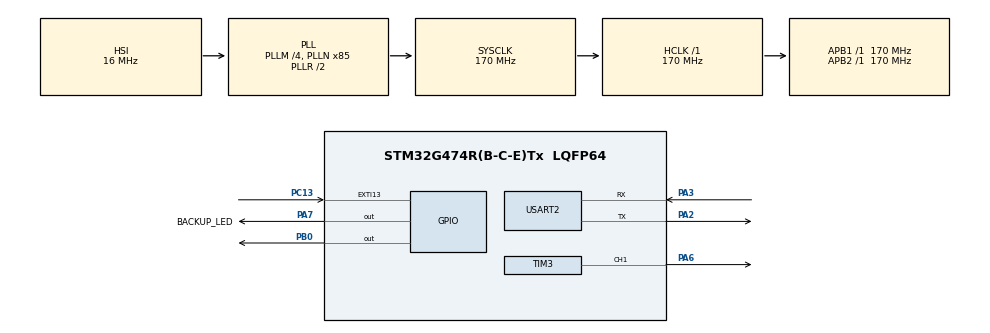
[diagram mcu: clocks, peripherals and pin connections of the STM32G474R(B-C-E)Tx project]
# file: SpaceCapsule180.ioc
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Mcu.Family=STM32G4
Mcu.Name=STM32G474R(B-C-E)Tx
Mcu.Package=LQFP64
NVIC.EXTI15_10_IRQn=true\:0\:0\:false\:false\:true\:true\:true\:true
NVIC.PriorityGroup=NVIC_PRIORITYGROUP_4
NVIC.TIM2_IRQn=true\:0\:0\:false\:false\:true\:true\:true\:true
NVIC.USART2_IRQn=true\:0\:0\:false\:false\:true\:true\:true\:true
PA13.GPIO_Label=T_SWDIO
PA13.Signal=SYS_JTMS-SWDIO
PA14.GPIO_Label=T_SWCLK
PA14.Signal=SYS_JTCK-SWCLK
PA2.Mode=Asynchronous
PA2.Signal=USART2_TX
PA3.Mode=Asynchronous
PA3.Signal=USART2_RX
PA6.Signal=S_TIM3_CH1
PA7.GPIO_Label=BACKUP_LED
PA7.Signal=GPIO_Output
PB0.Signal=GPIO_Output
PB3.GPIO_Label=T_SWO
PB3.Signal=SYS_JTDO-SWO
PC13.GPIO_PuPd=GPIO_PULLDOWN
PC13.Signal=GPXTI13
PC14-OSC32_IN.GPIO_Label=RCC_OSC32_IN
PC14-OSC32_IN.Signal=RCC_OSC32_IN
PC15-OSC32_OUT.GPIO_Label=RCC_OSC32_OUT
PC15-OSC32_OUT.Signal=RCC_OSC32_OUT
PF0-OSC_IN.GPIO_Label=RCC_OSC_IN
PF0-OSC_IN.Signal=RCC_OSC_IN
PF1-OSC_OUT.GPIO_Label=RCC_OSC_OUT
PF1-OSC_OUT.Signal=RCC_OSC_OUT
ProjectManager.HeapSize=0x200
ProjectManager.StackSize=0x400
ProjectManager.TargetToolchain=STM32CubeIDE
RCC.ADC12Freq_Value=170000000
RCC.ADC345Freq_Value=170000000
RCC.AHBFreq_Value=170000000
RCC.APB1Freq_Value=170000000
RCC.APB1TimFreq_Value=170000000
RCC.APB2Freq_Value=170000000
RCC.APB2TimFreq_Value=170000000
RCC.CortexFreq_Value=170000000
RCC.EXTERNAL_CLOCK_VALUE=12288000
RCC.HCLKFreq_Value=170000000
RCC.HSE_VALUE=24000000
RCC.HSI48_VALUE=48000000
RCC.HSI_VALUE=16000000
RCC.LSE_VALUE=32768
RCC.PLLM=RCC_PLLM_DIV4
RCC.PLLN=85
RCC.RTCClockSelection=RCC_RTCCLKSOURCE_LSE
RCC.SYSCLKFreq_VALUE=170000000
RCC.SYSCLKSource=RCC_SYSCLKSOURCE_PLLCLK
RCC.USBFreq_Value=170000000
RCC.VCOOutputFreq_Value=340000000
SH.S_TIM3_CH1.0=TIM3_CH1,PWM Generation1 CH1
TIM2.PeriodNoDither=999
TIM2.Prescaler=169
TIM3.Channel-PWM\ Generation1\ CH1=TIM_CHANNEL_1
TIM3.PeriodNoDither=999
TIM3.Prescaler=169
USART2.VirtualMode-Asynchronous=VM_ASYNC
VP_SYS_VS_DBSignals.Mode=DisableDeadBatterySignals
VP_TIM2_VS_ClockSourceINT.Mode=Internal
board=NUCLEO-G474RE

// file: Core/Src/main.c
/* USER CODE BEGIN Header */
/**
  ******************************************************************************
  * @file           : main.c
  * @brief          : Main program body
  ******************************************************************************
  * @attention
  *
  * Copyright (c) 2026 STMicroelectronics.
  * All rights reserved.
  *
  * This software is licensed under terms that can be found in the LICENSE file
  * in the root directory of this software component.
  * If no LICENSE file comes with this software, it is provided AS-IS.
  *
  ******************************************************************************
  */
/* USER CODE END Header */
#include "main.h"

/* USER CODE BEGIN Includes */
#include <stdio.h>
#include <string.h>
#include <stdlib.h>
/* USER CODE END Includes */

TIM_HandleTypeDef htim2;
TIM_HandleTypeDef htim3;

UART_HandleTypeDef huart2;

void SystemClock_Config(void);
static void MX_GPIO_Init(void);
static void MX_TIM2_Init(void);
static void MX_TIM3_Init(void);
static void MX_USART2_UART_Init(void);

/* USER CODE BEGIN 0 */

/*
 * SpaceCapsule
 * PA7 : BACKUP LED
 * PB0 : ALARM LED
 * PA6 : TIM3 CH1 PWM
 * PC13: B1, rising-edge EXTI
 * USART2: 115200, 8N1
 * TIM2: 1 ms update interrupt
 */

extern TIM_HandleTypeDef htim2;
extern TIM_HandleTypeDef htim3;

#define RX_SIZE         256U
#define LINE_SIZE       64U
#define MISSION_MS      180000U
#define STABLE_MS       5000U
#define DEBOUNCE_MS     50U

typedef enum
{
    STATE_IDLE = 0,
    STATE_RUNNING,
    STATE_SUCCESS,
    STATE_FAILED
} MissionState;

/* Interrupt-shared variables */
static volatile uint32_t app_ms = 0;
static volatile uint8_t button_pending = 0;
static volatile uint32_t button_time = 0;

static uint8_t rx_byte;
static volatile uint8_t rx_buffer[RX_SIZE];
static volatile uint16_t rx_head = 0;
static volatile uint16_t rx_tail = 0;
static volatile uint8_t rx_overflow = 0;
static volatile uint8_t uart_error = 0;

/* Main-loop-owned variables */
static MissionState mission_state = STATE_IDLE;
static uint8_t backup_on = 0;
static uint8_t power_percent = 0;
static uint8_t stable_active = 0;

static uint32_t mission_start = 0;
static uint32_t stable_start = 0;
static uint32_t finish_elapsed = 0;
static uint32_t last_report = 0;

static char command_line[LINE_SIZE];
static uint16_t command_length = 0;
static uint8_t discard_line = 0;

static void App_Send(const char *text)
{
    /* Only called from main loop, never from an ISR. */
    HAL_UART_Transmit(&huart2,
                     (uint8_t *)text,
                     (uint16_t)strlen(text),
                     100);
}

static const char *App_StateName(void)
{
    switch (mission_state)
    {
        case STATE_IDLE:    return "IDLE";
        case STATE_RUNNING: return "RUNNING";
        case STATE_SUCCESS: return "SUCCESS";
        case STATE_FAILED:  return "FAILED";
        default:            return "UNKNOWN";
    }
}

static uint32_t App_Elapsed(uint32_t now)
{
    if (mission_state == STATE_IDLE)
        return 0;

    if (mission_state == STATE_RUNNING)
        return now - mission_start;

    return finish_elapsed;
}

static uint32_t App_StableTime(uint32_t now)
{
    uint32_t elapsed;

    if (!stable_active)
        return 0;

    if (mission_state == STATE_SUCCESS)
        return STABLE_MS;

    if (mission_state != STATE_RUNNING)
        return 0;

    elapsed = now - stable_start;

    return (elapsed >= STABLE_MS) ? STABLE_MS : elapsed;
}

static void App_Report(uint32_t now)
{
    char text[180];
    uint32_t elapsed = App_Elapsed(now);
    uint32_t remaining;
    uint32_t stable = App_StableTime(now);

    if (elapsed > MISSION_MS)
        elapsed = MISSION_MS;

    remaining = MISSION_MS - elapsed;

    snprintf(text, sizeof(text),
             "STATUS state=%s remaining_ms=%lu "
             "backup=%u power=%u stable_ms=%lu ready=%u\r\n",
             App_StateName(),
             (unsigned long)remaining,
             (unsigned int)backup_on,
             (unsigned int)power_percent,
             (unsigned long)stable,
             (unsigned int)(
                 mission_state == STATE_RUNNING &&
                 backup_on &&
                 power_percent == 60 &&
                 stable >= STABLE_MS));

    App_Send(text);
}

static void App_SetPower(uint8_t value)
{
    uint32_t period = __HAL_TIM_GET_AUTORELOAD(&htim3) + 1U;
    uint32_t compare = (period * value) / 100U;

    power_percent = value;

    /* ARR=999: 60% -> CCR1=600; 100% -> CCR1=1000. */
    __HAL_TIM_SET_COMPARE(&htim3, TIM_CHANNEL_1, compare);
}

static void App_UpdateLEDs(uint32_t now)
{
    GPIO_PinState alarm = GPIO_PIN_RESET;

    HAL_GPIO_WritePin(GPIOA, GPIO_PIN_7,
                      backup_on ? GPIO_PIN_SET : GPIO_PIN_RESET);

    if (mission_state == STATE_FAILED)
    {
        alarm = GPIO_PIN_SET;
    }
    else if (mission_state == STATE_RUNNING)
    {
        /* 250 ms on + 250 ms off = 2 Hz. */
        alarm = (((now - mission_start) / 250U) % 2U == 0U)
                ? GPIO_PIN_SET : GPIO_PIN_RESET;
    }

    HAL_GPIO_WritePin(GPIOB, GPIO_PIN_0, alarm);
}

static void App_CheckTimeout(uint32_t now)
{
    if (mission_state == STATE_RUNNING &&
        now - mission_start >= MISSION_MS)
    {
        mission_state = STATE_FAILED;
        finish_elapsed = MISSION_MS;
        stable_active = 0;

        App_UpdateLEDs(now);
        App_Send("EVENT TIMEOUT FAILED\r\n");
        App_Report(now);
    }
}

static void App_Reset(void)
{
    mission_state = STATE_IDLE;
    backup_on = 0;
    stable_active = 0;
    mission_start = 0;
    stable_start = 0;
    finish_elapsed = 0;

    App_SetPower(0);
    App_UpdateLEDs(app_ms);
}

/* Strictly accept POWER followed by an integer from 0 to 100. */
static int App_ParsePower(const char *line, uint8_t *value)
{
    const char *number;
    char *end;
    long parsed;

    if (strncmp(line, "POWER ", 6) != 0)
        return 0;

    number = line + 6;

    /* Reject signs, missing values and excessively long numbers. */
    if (*number < '0' || *number > '9' || strlen(number) > 3U)
        return 0;

    parsed = strtol(number, &end, 10);

    if (*end != '\0' || parsed < 0 || parsed > 100)
        return 0;

    *value = (uint8_t)parsed;
    return 1;
}

static void App_Command(const char *line)
{
    uint32_t now = app_ms;
    uint8_t value;

    App_CheckTimeout(now);

    if (strcmp(line, "STATUS") == 0)
    {
        App_Report(now);
        return;
    }

    if (strcmp(line, "START") == 0)
    {
        if (mission_state != STATE_IDLE)
        {
            App_Send("ERR START_REQUIRES_IDLE\r\n");
            return;
        }

        backup_on = 0;
        stable_active = 0;
        finish_elapsed = 0;
        App_SetPower(0);

        mission_start = app_ms;
        mission_state = STATE_RUNNING;
        App_UpdateLEDs(mission_start);

        App_Send("OK START\r\n");
        App_Report(app_ms);
        return;
    }

    if (strcmp(line, "RESET") == 0)
    {
        if (mission_state != STATE_SUCCESS &&
            mission_state != STATE_FAILED)
        {
            App_Send("ERR RESET_REQUIRES_FINISHED\r\n");
            return;
        }

        App_Reset();
        App_Send("OK RESET\r\n");
        App_Report(app_ms);
        return;
    }

    if (strcmp(line, "BACKUP ON") == 0)
    {
        if (mission_state != STATE_RUNNING)
        {
            App_Send("ERR NOT_RUNNING\r\n");
            return;
        }

        backup_on = 1;
        App_UpdateLEDs(app_ms);
        App_Send("OK BACKUP_ON\r\n");
        App_Report(app_ms);
        return;
    }

    if (App_ParsePower(line, &value))
    {
        if (mission_state != STATE_RUNNING)
        {
            App_Send("ERR NOT_RUNNING\r\n");
            return;
        }

        if (!backup_on)
        {
            App_Send("ERR BACKUP_REQUIRED\r\n");
            return;
        }

        App_SetPower(value);

        if (value == 60)
        {
            /* Repeated POWER 60 must not restart stable timing. */
            if (!stable_active)
            {
                stable_start = app_ms;
                stable_active = 1;
            }
        }
        else
        {
            stable_active = 0;
        }

        App_Send("OK POWER\r\n");
        App_Report(app_ms);
        return;
    }

    App_Send("ERR COMMAND_USE_START_BACKUP_ON_POWER_N_STATUS_RESET\r\n");
}

static void App_ProcessButton(void)
{
    uint8_t pending;
    uint32_t pressed_at;
    uint32_t mask = __get_PRIMASK();

    /* Atomically take the event and its timestamp. */
    __disable_irq();
    pending = button_pending;
    pressed_at = button_time;
    button_pending = 0;
    __set_PRIMASK(mask);

    if (!pending)
        return;

    if (mission_state != STATE_RUNNING)
    {
        App_Send("ERR BUTTON_NOT_RUNNING\r\n");
        return;
    }

    if (pressed_at - mission_start >= MISSION_MS)
    {
        App_CheckTimeout(app_ms);
        return;
    }

    if (!backup_on)
    {
        App_Send("ERR BUTTON_BACKUP_REQUIRED\r\n");
        return;
    }

    if (power_percent != 60 || !stable_active)
    {
        App_Send("ERR BUTTON_POWER_MUST_BE_60\r\n");
        return;
    }

    /*
     * A very old button event must not qualify against a later
     * stable_start timestamp. Unsigned subtraction handles wraparound.
     */
    uint32_t stable = pressed_at - stable_start;

    if (stable >= 0x80000000UL || stable < STABLE_MS)
    {
        App_Send("ERR BUTTON_WAIT_5_SECONDS\r\n");
        return;
    }

    mission_state = STATE_SUCCESS;
    finish_elapsed = pressed_at - mission_start;

    App_UpdateLEDs(app_ms);
    App_Send("EVENT RESTART_SUCCESS\r\n");
    App_Report(app_ms);
}

static int App_ReadByte(uint8_t *value)
{
    if (rx_tail == rx_head)
        return 0;

    *value = rx_buffer[rx_tail];
    rx_tail = (uint16_t)((rx_tail + 1U) % RX_SIZE);
    return 1;
}

static void App_ProcessUART(void)
{
    uint8_t value;

    if (rx_overflow || uart_error)
    {
        uint32_t mask = __get_PRIMASK();

        __disable_irq();
        rx_tail = rx_head;
        rx_overflow = 0;
        uart_error = 0;
        __set_PRIMASK(mask);

        command_length = 0;
        discard_line = 1;

        App_Send("ERR RX_LOST_SEND_NEWLINE_THEN_RETRY\r\n");
    }

    while (App_ReadByte(&value))
    {
        /* Process a physical button event before another command. */
        App_ProcessButton();

        if (value == '\r' || value == '\n')
        {
            if (discard_line)
            {
                discard_line = 0;
                command_length = 0;
            }
            else if (command_length > 0)
            {
                command_line[command_length] = '\0';
                App_Command(command_line);
                command_length = 0;
            }

            continue;
        }

        if (discard_line)
            continue;

        if (value < 32U || value > 126U)
        {
            command_length = 0;
            discard_line = 1;
            App_Send("ERR ASCII_COMMANDS_ONLY\r\n");
            continue;
        }

        if (command_length < LINE_SIZE - 1U)
        {
            command_line[command_length++] = (char)value;
        }
        else
        {
            command_length = 0;
            discard_line = 1;
            App_Send("ERR COMMAND_TOO_LONG\r\n");
        }
    }
}

static void App_Init(void)
{
    App_Reset();

    if (HAL_TIM_PWM_Start(&htim3, TIM_CHANNEL_1) != HAL_OK)
        Error_Handler();

    if (HAL_UART_Receive_IT(&huart2, &rx_byte, 1) != HAL_OK)
        Error_Handler();

    if (HAL_TIM_Base_Start_IT(&htim2) != HAL_OK)
        Error_Handler();

    last_report = app_ms;

    App_Send("\r\nSPACE_CAPSULE READY\r\n");
    App_Send("COMMANDS: START | BACKUP ON | POWER N | STATUS | RESET\r\n");
    App_Report(app_ms);
}

static void App_Run(void)
{
    /*
     * Check a recorded button press before checking the current timeout.
     * A qualifying press before the deadline may therefore succeed.
     */
    App_ProcessButton();
    App_CheckTimeout(app_ms);
    App_ProcessUART();
    App_CheckTimeout(app_ms);
    App_UpdateLEDs(app_ms);

    uint32_t now = app_ms;

    if (mission_state == STATE_RUNNING &&
        now - last_report >= 250U)
    {
        last_report = now;
        App_Report(now);
    }
}

/* TIM2 ISR callback: keep it short. */
void HAL_TIM_PeriodElapsedCallback(TIM_HandleTypeDef *htim)
{
    if (htim->Instance == TIM2)
        app_ms++;
}

/* UART ISR callback: receive into a ring buffer only. */
void HAL_UART_RxCpltCallback(UART_HandleTypeDef *huart)
{
    if (huart->Instance == USART2)
    {
        uint16_t next = (uint16_t)((rx_head + 1U) % RX_SIZE);

        if (next != rx_tail)
        {
            rx_buffer[rx_head] = rx_byte;
            rx_head = next;
        }
        else
        {
            rx_overflow = 1;
        }

        HAL_UART_Receive_IT(&huart2, &rx_byte, 1);
    }
}

void HAL_UART_ErrorCallback(UART_HandleTypeDef *huart)
{
    if (huart->Instance == USART2)
    {
        uart_error = 1;

        /* Restart if HAL ended reception because of an error. */
        if (huart->RxState == HAL_UART_STATE_READY)
            HAL_UART_Receive_IT(&huart2, &rx_byte, 1);
    }
}

/* B1 ISR callback: debounce and record the event. */
void HAL_GPIO_EXTI_Callback(uint16_t GPIO_Pin)
{
    static uint32_t last_press = 0;
    static uint8_t first_press = 1;

    if (GPIO_Pin == GPIO_PIN_13)
    {
        uint32_t now = app_ms;

        if (first_press || now - last_press >= DEBOUNCE_MS)
        {
            first_press = 0;
            last_press = now;

            /* Preserve the earliest unprocessed press. */
            if (!button_pending)
            {
                button_time = now;
                button_pending = 1;
            }
        }
    }
}

/* USER CODE END 0 */

int main(void)
{

  /* MCU Configuration--------------------------------------------------------*/

  /* Reset of all peripherals, Initializes the Flash interface and the Systick. */
  HAL_Init();

  /* Configure the system clock */
  SystemClock_Config();

  /* Initialize all configured peripherals */
  MX_GPIO_Init();
  MX_TIM2_Init();
  MX_TIM3_Init();
  MX_USART2_UART_Init();
  /* USER CODE BEGIN 2 */
  App_Init();
  /* USER CODE END 2 */

  /* Infinite loop */
  /* USER CODE BEGIN WHILE */
  while (1)
  {
	  App_Run();
    /* USER CODE END WHILE */

  }
}

void SystemClock_Config(void)
{
  RCC_OscInitTypeDef RCC_OscInitStruct = {0};
  RCC_ClkInitTypeDef RCC_ClkInitStruct = {0};

  /** Configure the main internal regulator output voltage
  */
  HAL_PWREx_ControlVoltageScaling(PWR_REGULATOR_VOLTAGE_SCALE1_BOOST);

  /** Initializes the RCC Oscillators according to the specified parameters
  * in the RCC_OscInitTypeDef structure.
  */
  RCC_OscInitStruct.OscillatorType = RCC_OSCILLATORTYPE_HSI;
  RCC_OscInitStruct.HSIState = RCC_HSI_ON;
  RCC_OscInitStruct.HSICalibrationValue = RCC_HSICALIBRATION_DEFAULT;
  RCC_OscInitStruct.PLL.PLLState = RCC_PLL_ON;
  RCC_OscInitStruct.PLL.PLLSource = RCC_PLLSOURCE_HSI;
  RCC_OscInitStruct.PLL.PLLM = RCC_PLLM_DIV4;
  RCC_OscInitStruct.PLL.PLLN = 85;
  RCC_OscInitStruct.PLL.PLLP = RCC_PLLP_DIV2;
  RCC_OscInitStruct.PLL.PLLQ = RCC_PLLQ_DIV2;
  RCC_OscInitStruct.PLL.PLLR = RCC_PLLR_DIV2;
  if (HAL_RCC_OscConfig(&RCC_OscInitStruct) != HAL_OK)
  {
    Error_Handler();
  }

  /** Initializes the CPU, AHB and APB buses clocks
  */
  RCC_ClkInitStruct.ClockType = RCC_CLOCKTYPE_HCLK|RCC_CLOCKTYPE_SYSCLK
                              |RCC_CLOCKTYPE_PCLK1|RCC_CLOCKTYPE_PCLK2;
  RCC_ClkInitStruct.SYSCLKSource = RCC_SYSCLKSOURCE_PLLCLK;
  RCC_ClkInitStruct.AHBCLKDivider = RCC_SYSCLK_DIV1;
  RCC_ClkInitStruct.APB1CLKDivider = RCC_HCLK_DIV1;
  RCC_ClkInitStruct.APB2CLKDivider = RCC_HCLK_DIV1;

  if (HAL_RCC_ClockConfig(&RCC_ClkInitStruct, FLASH_LATENCY_4) != HAL_OK)
  {
    Error_Handler();
  }
}

static void MX_TIM2_Init(void)
{

  TIM_ClockConfigTypeDef sClockSourceConfig = {0};
  TIM_MasterConfigTypeDef sMasterConfig = {0};

  htim2.Instance = TIM2;
  htim2.Init.Prescaler = 169;
  htim2.Init.CounterMode = TIM_COUNTERMODE_UP;
  htim2.Init.Period = 999;
  htim2.Init.ClockDivision = TIM_CLOCKDIVISION_DIV1;
  htim2.Init.AutoReloadPreload = TIM_AUTORELOAD_PRELOAD_DISABLE;
  if (HAL_TIM_Base_Init(&htim2) != HAL_OK)
  {
    Error_Handler();
  }
  sClockSourceConfig.ClockSource = TIM_CLOCKSOURCE_INTERNAL;
  if (HAL_TIM_ConfigClockSource(&htim2, &sClockSourceConfig) != HAL_OK)
  {
    Error_Handler();
  }
  sMasterConfig.MasterOutputTrigger = TIM_TRGO_RESET;
  sMasterConfig.MasterSlaveMode = TIM_MASTERSLAVEMODE_DISABLE;
  if (HAL_TIMEx_MasterConfigSynchronization(&htim2, &sMasterConfig) != HAL_OK)
  {
    Error_Handler();
  }

}

static void MX_TIM3_Init(void)
{

  TIM_MasterConfigTypeDef sMasterConfig = {0};
  TIM_OC_InitTypeDef sConfigOC = {0};

  htim3.Instance = TIM3;
  htim3.Init.Prescaler = 169;
  htim3.Init.CounterMode = TIM_COUNTERMODE_UP;
  htim3.Init.Period = 999;
  htim3.Init.ClockDivision = TIM_CLOCKDIVISION_DIV1;
  htim3.Init.AutoReloadPreload = TIM_AUTORELOAD_PRELOAD_DISABLE;
  if (HAL_TIM_PWM_Init(&htim3) != HAL_OK)
  {
    Error_Handler();
  }
  sMasterConfig.MasterOutputTrigger = TIM_TRGO_RESET;
  sMasterConfig.MasterSlaveMode = TIM_MASTERSLAVEMODE_DISABLE;
  if (HAL_TIMEx_MasterConfigSynchronization(&htim3, &sMasterConfig) != HAL_OK)
  {
    Error_Handler();
  }
  sConfigOC.OCMode = TIM_OCMODE_PWM1;
  sConfigOC.Pulse = 0;
  sConfigOC.OCPolarity = TIM_OCPOLARITY_HIGH;
  sConfigOC.OCFastMode = TIM_OCFAST_DISABLE;
  if (HAL_TIM_PWM_ConfigChannel(&htim3, &sConfigOC, TIM_CHANNEL_1) != HAL_OK)
  {
    Error_Handler();
  }
  HAL_TIM_MspPostInit(&htim3);

}

static void MX_USART2_UART_Init(void)
{

  huart2.Instance = USART2;
  huart2.Init.BaudRate = 115200;
  huart2.Init.WordLength = UART_WORDLENGTH_8B;
  huart2.Init.StopBits = UART_STOPBITS_1;
  huart2.Init.Parity = UART_PARITY_NONE;
  huart2.Init.Mode = UART_MODE_TX_RX;
  huart2.Init.HwFlowCtl = UART_HWCONTROL_NONE;
  huart2.Init.OverSampling = UART_OVERSAMPLING_16;
  huart2.Init.OneBitSampling = UART_ONE_BIT_SAMPLE_DISABLE;
  huart2.Init.ClockPrescaler = UART_PRESCALER_DIV1;
  huart2.AdvancedInit.AdvFeatureInit = UART_ADVFEATURE_NO_INIT;
  if (HAL_UART_Init(&huart2) != HAL_OK)
  {
    Error_Handler();
  }
  if (HAL_UARTEx_SetTxFifoThreshold(&huart2, UART_TXFIFO_THRESHOLD_1_8) != HAL_OK)
  {
    Error_Handler();
  }
  if (HAL_UARTEx_SetRxFifoThreshold(&huart2, UART_RXFIFO_THRESHOLD_1_8) != HAL_OK)
  {
    Error_Handler();
  }
  if (HAL_UARTEx_DisableFifoMode(&huart2) != HAL_OK)
  {
    Error_Handler();
  }

}

static void MX_GPIO_Init(void)
{
  GPIO_InitTypeDef GPIO_InitStruct = {0};

  /* GPIO Ports Clock Enable */
  __HAL_RCC_GPIOC_CLK_ENABLE();
  __HAL_RCC_GPIOF_CLK_ENABLE();
  __HAL_RCC_GPIOA_CLK_ENABLE();
  __HAL_RCC_GPIOB_CLK_ENABLE();

  /*Configure GPIO pin Output Level */
  HAL_GPIO_WritePin(BACKUP_LED_GPIO_Port, BACKUP_LED_Pin, GPIO_PIN_RESET);

  /*Configure GPIO pin Output Level */
  HAL_GPIO_WritePin(GPIOB, GPIO_PIN_0, GPIO_PIN_RESET);

  /*Configure GPIO pin : PC13 */
  GPIO_InitStruct.Pin = GPIO_PIN_13;
  GPIO_InitStruct.Mode = GPIO_MODE_IT_RISING;
  GPIO_InitStruct.Pull = GPIO_PULLDOWN;
  HAL_GPIO_Init(GPIOC, &GPIO_InitStruct);

  /*Configure GPIO pin : BACKUP_LED_Pin */
  GPIO_InitStruct.Pin = BACKUP_LED_Pin;
  GPIO_InitStruct.Mode = GPIO_MODE_OUTPUT_PP;
  GPIO_InitStruct.Pull = GPIO_NOPULL;
  GPIO_InitStruct.Speed = GPIO_SPEED_FREQ_LOW;
  HAL_GPIO_Init(BACKUP_LED_GPIO_Port, &GPIO_InitStruct);

  /*Configure GPIO pin : PB0 */
  GPIO_InitStruct.Pin = GPIO_PIN_0;
  GPIO_InitStruct.Mode = GPIO_MODE_OUTPUT_PP;
  GPIO_InitStruct.Pull = GPIO_NOPULL;
  GPIO_InitStruct.Speed = GPIO_SPEED_FREQ_LOW;
  HAL_GPIO_Init(GPIOB, &GPIO_InitStruct);

  /* EXTI interrupt init*/
  HAL_NVIC_SetPriority(EXTI15_10_IRQn, 0, 0);
  HAL_NVIC_EnableIRQ(EXTI15_10_IRQn);

}

void Error_Handler(void)
{
  __disable_irq();
  while (1)
  {
  }
}
